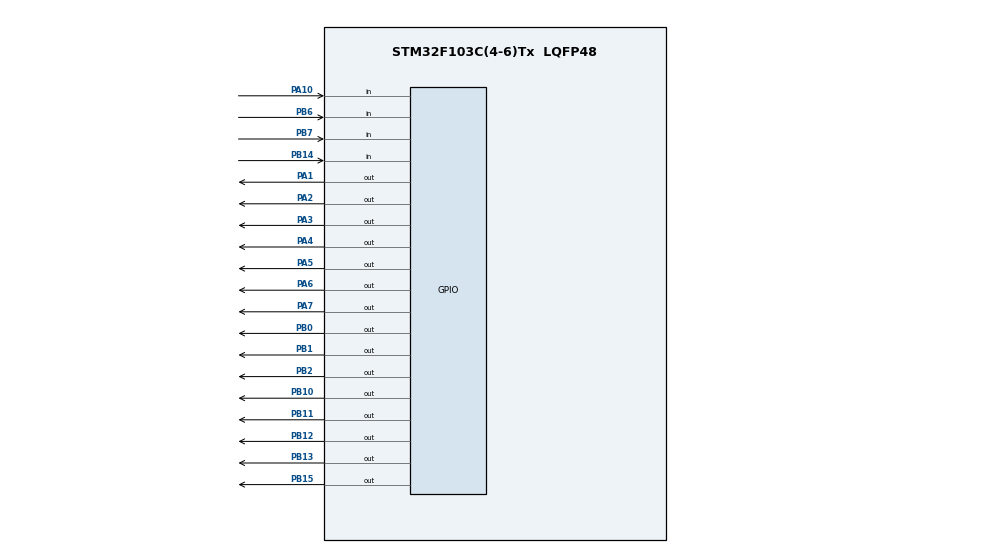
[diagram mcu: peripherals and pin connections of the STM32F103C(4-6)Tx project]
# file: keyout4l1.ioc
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Mcu.Family=STM32F1
Mcu.Name=STM32F103C(4-6)Tx
Mcu.Package=LQFP48
NVIC.PriorityGroup=NVIC_PRIORITYGROUP_4
PA1.GPIO_PuPd=GPIO_PULLDOWN
PA1.Signal=GPIO_Output
PA10.GPIO_PuPd=GPIO_PULLDOWN
PA10.Signal=GPIO_Input
PA2.GPIO_PuPd=GPIO_PULLDOWN
PA2.Signal=GPIO_Output
PA3.GPIO_PuPd=GPIO_PULLDOWN
PA3.Signal=GPIO_Output
PA4.GPIO_PuPd=GPIO_PULLDOWN
PA4.Signal=GPIO_Output
PA5.GPIO_PuPd=GPIO_PULLDOWN
PA5.Signal=GPIO_Output
PA6.GPIO_PuPd=GPIO_PULLDOWN
PA6.Signal=GPIO_Output
PA7.GPIO_PuPd=GPIO_PULLDOWN
PA7.Signal=GPIO_Output
PB0.GPIO_PuPd=GPIO_PULLDOWN
PB0.Signal=GPIO_Output
PB1.GPIO_PuPd=GPIO_PULLDOWN
PB1.Signal=GPIO_Output
PB10.GPIO_PuPd=GPIO_PULLDOWN
PB10.Signal=GPIO_Output
PB11.GPIO_PuPd=GPIO_PULLDOWN
PB11.Signal=GPIO_Output
PB12.GPIO_PuPd=GPIO_PULLUP
PB12.Signal=GPIO_Output
PB13.GPIO_PuPd=GPIO_PULLUP
PB13.PinState=GPIO_PIN_RESET
PB13.Signal=GPIO_Output
PB14.GPIO_PuPd=GPIO_PULLDOWN
PB14.Signal=GPIO_Input
PB15.GPIO_PuPd=GPIO_PULLUP
PB15.Signal=GPIO_Output
PB2.GPIO_PuPd=GPIO_PULLDOWN
PB2.Signal=GPIO_Output
PB6.GPIO_PuPd=GPIO_PULLDOWN
PB6.Signal=GPIO_Input
PB7.GPIO_PuPd=GPIO_PULLDOWN
PB7.Signal=GPIO_Input
PD0-OSC_IN.Mode=HSE-External-Oscillator
PD0-OSC_IN.Signal=RCC_OSC_IN
PD1-OSC_OUT.Mode=HSE-External-Oscillator
PD1-OSC_OUT.Signal=RCC_OSC_OUT
ProjectManager.HeapSize=0x200
ProjectManager.StackSize=0x400
ProjectManager.TargetToolchain=STM32CubeIDE
RCC.APB1Freq_Value=8000000
RCC.APB2Freq_Value=8000000
RCC.PLLMUL=RCC_PLL_MUL6
RCC.PLLSourceVirtual=RCC_PLLSOURCE_HSE
RCC.SYSCLKSource=RCC_SYSCLKSOURCE_HSE
RCC.USBFreq_Value=48000000
board=custom

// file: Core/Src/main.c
/* USER CODE BEGIN Header */
/**
  ******************************************************************************
  * @file           : main.c
  * @brief          : Main program body
  ******************************************************************************
  * @attention
  *
  * Copyright (c) 2023 STMicroelectronics.
  * All rights reserved.
  *
  * This software is licensed under terms that can be found in the LICENSE file
  * in the root directory of this software component.
  * If no LICENSE file comes with this software, it is provided AS-IS.
  *
  ******************************************************************************
  */
/* USER CODE END Header */
#include "main.h"

void SystemClock_Config(void);
static void MX_GPIO_Init(void);

/* USER CODE BEGIN 0 */
uint8_t led_color_index = 0;
uint32_t led_colors[] = {
	0x000000,
	0xFF0000,
	0x00FF00,
	0x0000FF,
	0xFFFF00,
	0xFF00FF,
	0x00FFFF,
	0xFFFFFF,
};
/* USER CODE END 0 */

int main(void)
{

  /* MCU Configuration--------------------------------------------------------*/

  /* Reset of all peripherals, Initializes the Flash interface and the Systick. */
  HAL_Init();

  /* Configure the system clock */
  SystemClock_Config();

  /* Initialize all configured peripherals */
  MX_GPIO_Init();
  /* USER CODE BEGIN 2 */
  GPIO_PinState b7 = HAL_GPIO_ReadPin(GPIOB, GPIO_PIN_7);
  /* USER CODE END 2 */

  /* Infinite loop */
  while (1)
  {

    /* USER CODE BEGIN 3 */
	  HAL_Delay(44);
	  GPIO_PinState nb7 = HAL_GPIO_ReadPin(GPIOB, GPIO_PIN_7);
	  GPIO_PinState nb6 = HAL_GPIO_ReadPin(GPIOB, GPIO_PIN_6);
	  GPIO_PinState na10 = HAL_GPIO_ReadPin(GPIOA, GPIO_PIN_10);
	  GPIO_PinState nb14 = HAL_GPIO_ReadPin(GPIOB, GPIO_PIN_14);
	  HAL_GPIO_WritePin(GPIOA, GPIO_PIN_1, nb7);
	  HAL_GPIO_WritePin(GPIOA, GPIO_PIN_4, nb6);
	  HAL_GPIO_WritePin(GPIOA, GPIO_PIN_7, na10);
	  HAL_GPIO_WritePin(GPIOB, GPIO_PIN_10, nb14);

	  if (b7 != nb7) {
		  b7 = nb7;
		  if (b7 == GPIO_PIN_SET) {
			  led_color_index = (led_color_index + 1) & 0b111;
			  uint32_t color = led_colors[led_color_index];
			  GPIO_PinState r = (color & 0xFF0000) ? GPIO_PIN_SET : GPIO_PIN_RESET;
			  GPIO_PinState g = (color & 0x00FF00) ? GPIO_PIN_SET : GPIO_PIN_RESET;
			  GPIO_PinState b = (color & 0x0000FF) ? GPIO_PIN_SET : GPIO_PIN_RESET;
			  HAL_GPIO_WritePin(GPIOB, GPIO_PIN_12, r);
			  HAL_GPIO_WritePin(GPIOB, GPIO_PIN_13, g);
			  HAL_GPIO_WritePin(GPIOB, GPIO_PIN_15, b);
		  }
	  }
  }
  /* USER CODE END 3 */
}

void SystemClock_Config(void)
{
  RCC_OscInitTypeDef RCC_OscInitStruct = {0};
  RCC_ClkInitTypeDef RCC_ClkInitStruct = {0};

  /** Initializes the RCC Oscillators according to the specified parameters
  * in the RCC_OscInitTypeDef structure.
  */
  RCC_OscInitStruct.OscillatorType = RCC_OSCILLATORTYPE_HSE;
  RCC_OscInitStruct.HSEState = RCC_HSE_ON;
  RCC_OscInitStruct.PLL.PLLState = RCC_PLL_NONE;
  if (HAL_RCC_OscConfig(&RCC_OscInitStruct) != HAL_OK)
  {
    Error_Handler();
  }

  /** Initializes the CPU, AHB and APB buses clocks
  */
  RCC_ClkInitStruct.ClockType = RCC_CLOCKTYPE_HCLK|RCC_CLOCKTYPE_SYSCLK
                              |RCC_CLOCKTYPE_PCLK1|RCC_CLOCKTYPE_PCLK2;
  RCC_ClkInitStruct.SYSCLKSource = RCC_SYSCLKSOURCE_HSE;
  RCC_ClkInitStruct.AHBCLKDivider = RCC_SYSCLK_DIV1;
  RCC_ClkInitStruct.APB1CLKDivider = RCC_HCLK_DIV1;
  RCC_ClkInitStruct.APB2CLKDivider = RCC_HCLK_DIV1;

  if (HAL_RCC_ClockConfig(&RCC_ClkInitStruct, FLASH_LATENCY_0) != HAL_OK)
  {
    Error_Handler();
  }
}

static void MX_GPIO_Init(void)
{
  GPIO_InitTypeDef GPIO_InitStruct = {0};

  /* GPIO Ports Clock Enable */
  __HAL_RCC_GPIOD_CLK_ENABLE();
  __HAL_RCC_GPIOA_CLK_ENABLE();
  __HAL_RCC_GPIOB_CLK_ENABLE();

  /*Configure GPIO pin Output Level */
  HAL_GPIO_WritePin(GPIOA, GPIO_PIN_1|GPIO_PIN_2|GPIO_PIN_3|GPIO_PIN_4
                          |GPIO_PIN_5|GPIO_PIN_6|GPIO_PIN_7, GPIO_PIN_RESET);

  /*Configure GPIO pin Output Level */
  HAL_GPIO_WritePin(GPIOB, GPIO_PIN_0|GPIO_PIN_1|GPIO_PIN_2|GPIO_PIN_10
                          |GPIO_PIN_11|GPIO_PIN_12|GPIO_PIN_13|GPIO_PIN_15, GPIO_PIN_RESET);

  /*Configure GPIO pins : PA1 PA2 PA3 PA4
                           PA5 PA6 PA7 */
  GPIO_InitStruct.Pin = GPIO_PIN_1|GPIO_PIN_2|GPIO_PIN_3|GPIO_PIN_4
                          |GPIO_PIN_5|GPIO_PIN_6|GPIO_PIN_7;
  GPIO_InitStruct.Mode = GPIO_MODE_OUTPUT_PP;
  GPIO_InitStruct.Pull = GPIO_PULLDOWN;
  GPIO_InitStruct.Speed = GPIO_SPEED_FREQ_LOW;
  HAL_GPIO_Init(GPIOA, &GPIO_InitStruct);

  /*Configure GPIO pins : PB0 PB1 PB2 PB10
                           PB11 */
  GPIO_InitStruct.Pin = GPIO_PIN_0|GPIO_PIN_1|GPIO_PIN_2|GPIO_PIN_10
                          |GPIO_PIN_11;
  GPIO_InitStruct.Mode = GPIO_MODE_OUTPUT_PP;
  GPIO_InitStruct.Pull = GPIO_PULLDOWN;
  GPIO_InitStruct.Speed = GPIO_SPEED_FREQ_LOW;
  HAL_GPIO_Init(GPIOB, &GPIO_InitStruct);

  /*Configure GPIO pins : PB12 PB13 PB15 */
  GPIO_InitStruct.Pin = GPIO_PIN_12|GPIO_PIN_13|GPIO_PIN_15;
  GPIO_InitStruct.Mode = GPIO_MODE_OUTPUT_PP;
  GPIO_InitStruct.Pull = GPIO_PULLUP;
  GPIO_InitStruct.Speed = GPIO_SPEED_FREQ_LOW;
  HAL_GPIO_Init(GPIOB, &GPIO_InitStruct);

  /*Configure GPIO pins : PB14 PB6 PB7 */
  GPIO_InitStruct.Pin = GPIO_PIN_14|GPIO_PIN_6|GPIO_PIN_7;
  GPIO_InitStruct.Mode = GPIO_MODE_INPUT;
  GPIO_InitStruct.Pull = GPIO_PULLDOWN;
  HAL_GPIO_Init(GPIOB, &GPIO_InitStruct);

  /*Configure GPIO pin : PA10 */
  GPIO_InitStruct.Pin = GPIO_PIN_10;
  GPIO_InitStruct.Mode = GPIO_MODE_INPUT;
  GPIO_InitStruct.Pull = GPIO_PULLDOWN;
  HAL_GPIO_Init(GPIOA, &GPIO_InitStruct);

}

void Error_Handler(void)
{
  __disable_irq();
  while (1)
  {
  }
}
